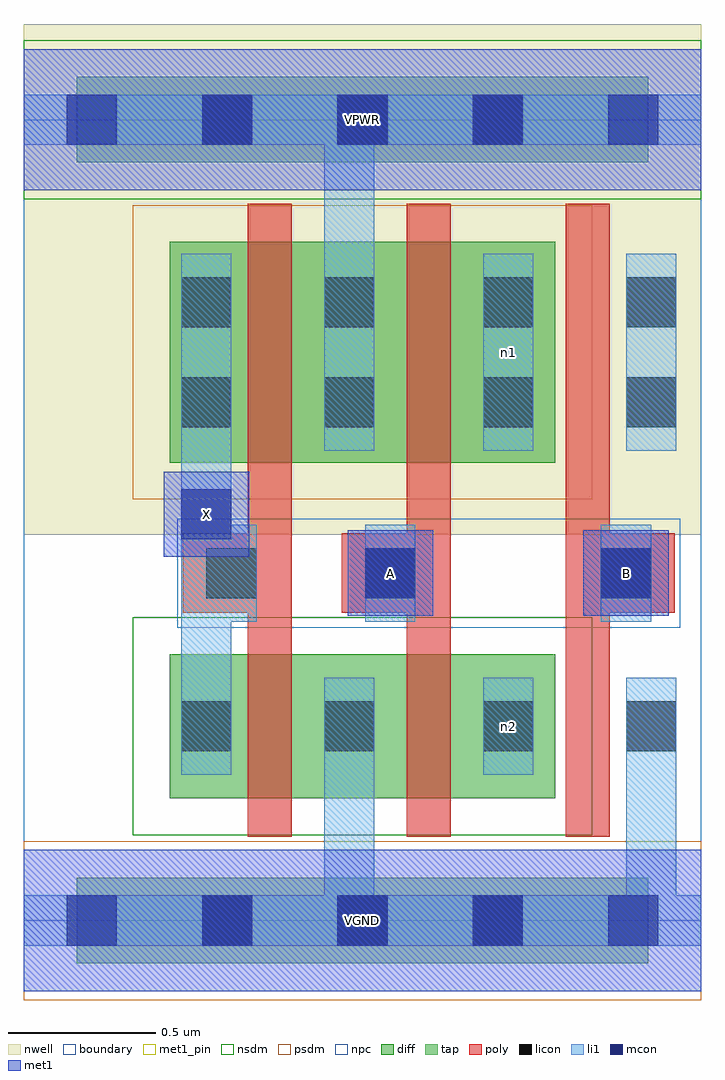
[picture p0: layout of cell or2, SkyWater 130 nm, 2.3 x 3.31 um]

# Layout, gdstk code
import gdstk
lib = gdstk.Library(unit=1e-6, precision=1e-09)
def R(c, l, rs):  # rectangles x0, y0, x1, y1
    for r in rs: c.add(gdstk.rectangle(r[:2], r[2:], *l))
def A(c, l, x, y, w, h, nx, ny, dx, dy):  # array of equal rectangles
    R(c, l, [(x+i*dx, y+j*dy, x+i*dx+w, y+j*dy+h) for i in range(nx) for j in range(ny)])
nwell = (64, 20)
diff = (65, 20)
tap = (65, 44)
poly = (66, 20)
licon = (66, 44)
li1 = (67, 20)
mcon = (67, 44)
met1_pin = (68, 16)
met1 = (68, 20)
nsdm = (93, 44)
psdm = (94, 20)
npc = (95, 20)
boundary = (235, 4)

or2 = lib.new_cell('or2')
R(or2, nwell, [(0,1.31,2.3,3.045)])
R(or2, diff, [(0.495,0.415,1.805,0.905), (0.495,1.555,1.805,2.305)])
R(or2, tap, [(0.18,-0.145,2.12,0.145), (0.18,2.575,2.12,2.865)])
A(or2, poly, 0.76, 0.285, 0.15, 2.15, 3, 1, 0.54, 0)
R(or2, poly, [(0.54,1.045,0.87,1.315), (1.08,1.045,1.41,1.315), (1.88,1.045,2.21,1.315)])
A(or2, licon, 0.605, -0.085, 0.17, 0.17, 3, 2, 0.46, 2.72)
R(or2, licon, [(0.535,0.575,0.705,0.745), (1.02,0.575,1.19,0.745), (1.56,0.575,1.73,0.745), (2.045,0.575,2.215,0.745), (0.62,1.095,0.79,1.265), (1.16,1.095,1.33,1.265), (1.96,1.095,2.13,1.265), (0.535,1.675,0.705,1.845), (1.02,1.675,1.19,1.845), (1.56,1.675,1.73,1.845), (2.045,1.675,2.215,1.845), (0.535,2.015,0.705,2.185), (1.02,2.015,1.19,2.185), (1.56,2.015,1.73,2.185), (2.045,2.015,2.215,2.185)])
R(or2, li1, [(0,-0.085,2.3,0.085), (1.02,-0.085,1.19,0.825), (2.045,-0.085,2.215,0.825), (0.535,0.495,0.705,0.825), (0.535,0.495,0.705,2.265), (1.02,0.495,1.19,0.825), (1.56,0.495,1.73,0.825), (2.045,0.495,2.215,0.825), (0.62,1.015,0.79,1.345), (1.16,1.015,1.33,1.345), (1.96,1.015,2.13,1.345), (0.535,1.595,0.705,2.265), (1.02,1.595,1.19,2.265), (1.02,1.595,1.19,2.805), (1.56,1.595,1.73,2.265), (2.045,1.595,2.215,2.265), (0,2.635,2.3,2.805)])
A(or2, mcon, 0.145, -0.085, 0.17, 0.17, 5, 2, 0.46, 2.72)
R(or2, mcon, [(1.16,1.095,1.33,1.265), (1.96,1.095,2.13,1.265), (0.535,1.295,0.705,1.465)])
R(or2, met1_pin, [(0,-0.24,2.3,0.24), (1.1,1.035,1.39,1.325), (1.9,1.035,2.19,1.325), (0.475,1.235,0.765,1.525), (0,2.48,2.3,2.96)])
R(or2, met1, [(0,-0.24,2.3,0.24), (1.1,1.035,1.39,1.325), (1.9,1.035,2.19,1.325), (0.475,1.235,0.765,1.525), (0,2.48,2.3,2.96)])
R(or2, nsdm, [(0.37,0.29,1.93,1.03), (0,2.45,2.3,2.99)])
R(or2, psdm, [(0,-0.27,2.3,0.27), (0.37,1.43,1.93,2.43)])
R(or2, npc, [(0.52,0.995,2.23,1.365)])
R(or2, boundary, [(0,0,2.3,2.72)])
or2.add(gdstk.Label('n2', (1.645,0.66), layer=67, texttype=5))
or2.add(gdstk.Label('n1', (1.645,1.93), layer=67, texttype=5))
or2.add(gdstk.Label('A', (1.245,1.18), layer=68, texttype=5))
or2.add(gdstk.Label('B', (2.045,1.18), layer=68, texttype=5))
or2.add(gdstk.Label('X', (0.62,1.38), layer=68, texttype=5))
or2.add(gdstk.Label('VPWR', (1.15,2.72), layer=68, texttype=5))
or2.add(gdstk.Label('VGND', (1.15,0), layer=68, texttype=5))
or2.add(gdstk.Label('A', (1.245,1.18), layer=68, texttype=16))
or2.add(gdstk.Label('B', (2.045,1.18), layer=68, texttype=16))
or2.add(gdstk.Label('X', (0.62,1.38), layer=68, texttype=16))
or2.add(gdstk.Label('VPWR', (1.15,2.72), layer=68, texttype=16))
or2.add(gdstk.Label('VGND', (1.15,0), layer=68, texttype=16))

lib.write_gds('or2.gds')
